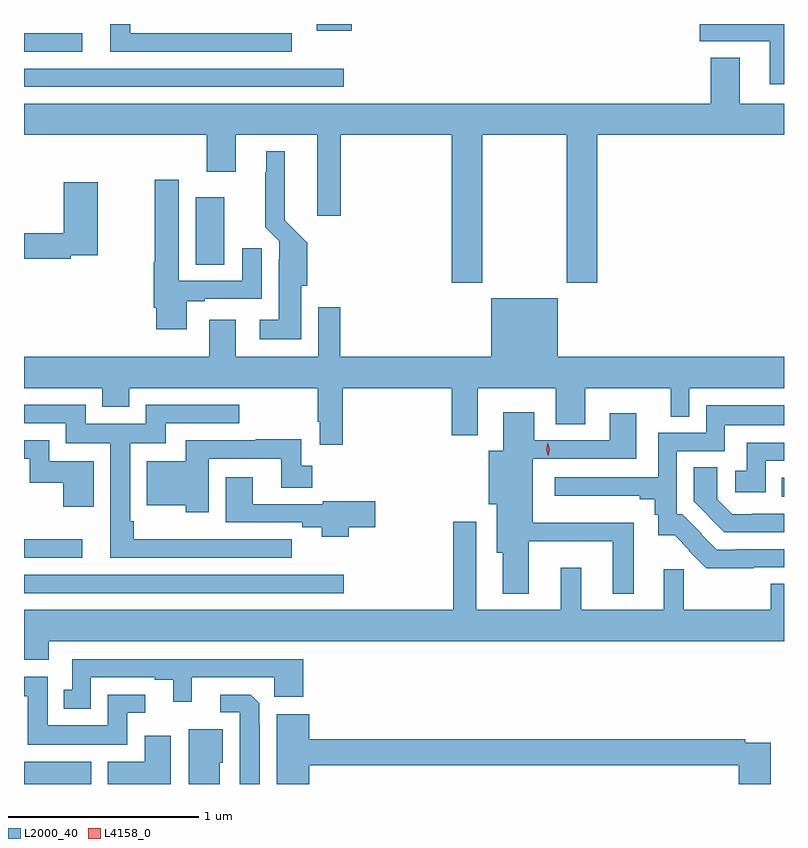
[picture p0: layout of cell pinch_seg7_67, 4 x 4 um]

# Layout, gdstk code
import gdstk
lib = gdstk.Library(unit=1e-6, precision=1e-09)
def R(c, l, rs):  # rectangles x0, y0, x1, y1
    for r in rs: c.add(gdstk.rectangle(r[:2], r[2:], *l))
def P(c, l, *ps):  # polygons
    for p in ps: c.add(gdstk.Polygon(p, *l))
L2000_40 = (2000, 40)
L4158_0 = (4158, 0)

pinch_seg7_67 = lib.new_cell('pinch_seg7_67')
R(pinch_seg7_67, L2000_40, [(997.623,1057.14,997.978,1057.258), (997.623,1058.145,999.307,1058.241), (1001.612,1058.651,1001.623,1058.752), (998.528,1059.874,998.677,1060.228), (997.623,1060.809,999.307,1060.905), (999.164,1061.105,999.347,1061.14)])
P(pinch_seg7_67, L2000_40, [(1001.623,1061.14),(1001.18,1061.14),(1001.18,1061.048),(1001.549,1061.048),(1001.549,1060.824),(1001.623,1060.824)],
  [(999.031,1061.091),(998.182,1061.091),(998.182,1061.14),(998.078,1061.14),(998.078,1060.995),(999.031,1060.995)],
  [(997.93,1061.092),(997.66,1061.092),(997.66,1061.091),(997.623,1061.091),(997.623,1060.995),(997.93,1060.995)],
  [(1000.035,1060.556),(1000.48,1060.556),(1000.48,1059.777),(1000.64,1059.777),(1000.64,1060.556),(1001.623,1060.556),(1001.623,1060.72),(1001.389,1060.72),(1001.389,1060.963),(1001.237,1060.963),(1001.237,1060.72),(997.623,1060.72),(997.623,1060.556),(998.585,1060.556),(998.585,1060.362),(998.737,1060.362),(998.737,1060.556),(999.167,1060.556),(999.167,1060.131),(999.29,1060.131),(999.29,1060.556),(999.875,1060.556),(999.875,1059.777),(1000.035,1059.777)],
  [(999.082,1059.762),(999.113,1059.762),(999.113,1059.99),(998.995,1060.108),(998.995,1060.471),(998.897,1060.471),(998.897,1060.361),(998.893,1060.361),(998.893,1060.07),(998.967,1059.996),(998.967,1059.902),(998.963,1059.902),(998.963,1059.583),(998.865,1059.583),(998.865,1059.482),(999.082,1059.482)],
  [(998.479,1059.681),(998.575,1059.681),(998.575,1059.693),(998.875,1059.693),(998.875,1059.961),(998.771,1059.961),(998.771,1059.789),(998.437,1059.789),(998.437,1060.321),(998.311,1060.321),(998.311,1059.886),(998.306,1059.886),(998.306,1059.646),(998.318,1059.646),(998.318,1059.534),(998.479,1059.534)],
  [(997.868,1059.924),(998.01,1059.924),(998.01,1060.306),(997.832,1060.306),(997.832,1060.04),(997.623,1060.04),(997.623,1059.904),(997.868,1059.904)],
  [(999.301,1059.224),(999.875,1059.224),(999.875,1058.976),(1000.012,1058.976),(1000.012,1059.224),(1000.421,1059.224),(1000.421,1059.034),(1000.576,1059.034),(1000.576,1059.224),(1001.027,1059.224),(1001.027,1059.073),(1001.124,1059.073),(1001.124,1059.224),(1001.623,1059.224),(1001.623,1059.388),(1000.432,1059.388),(1000.432,1059.697),(1000.082,1059.697),(1000.082,1059.388),(999.287,1059.388),(999.287,1059.649),(999.171,1059.649),(999.171,1059.388),(998.737,1059.388),(998.737,1059.583),(998.597,1059.583),(998.597,1059.388),(997.623,1059.388),(997.623,1059.224),(998.036,1059.224),(998.036,1059.125),(998.176,1059.125),(998.176,1059.224),(999.169,1059.224),(999.169,1059.046),(999.179,1059.046),(999.179,1058.925),(999.301,1058.925)],
  [(999.031,1058.427),(998.588,1058.427),(998.588,1058.428),(998.2,1058.428),(998.2,1058.524),(998.182,1058.524),(998.182,1058.933),(998.368,1058.933),(998.368,1059.039),(998.755,1059.039),(998.755,1059.135),(998.264,1059.135),(998.264,1059.037),(997.948,1059.037),(997.948,1059.135),(997.623,1059.135),(997.623,1059.039),(997.844,1059.039),(997.844,1058.933),(998.078,1058.933),(998.078,1058.331),(999.031,1058.331)],
  [(1001.465,1058.28),(1001.623,1058.28),(1001.623,1058.376),(1001.368,1058.376),(1001.368,1058.373),(1001.268,1058.373),(1001.187,1058.454),(1001.19,1058.457),(1001.088,1058.559),(1001.058,1058.559),(1001.058,1058.892),(1001.31,1058.892),(1001.31,1059.029),(1001.623,1059.029),(1001.623,1059.133),(1001.214,1059.133),(1001.214,1058.988),(1000.962,1058.988),(1000.962,1058.754),(1000.416,1058.754),(1000.416,1058.657),(1000.865,1058.657),(1000.865,1058.638),(1000.942,1058.638),(1000.942,1058.556),(1000.961,1058.556),(1000.961,1058.448),(1001.047,1058.448),(1001.124,1058.37),(1001.121,1058.368),(1001.213,1058.275),(1001.465,1058.275)],
  [(1000.279,1058.417),(1000.721,1058.417),(1000.721,1058.142),(1000.831,1058.142),(1000.831,1058.515),(1000.3,1058.515),(1000.3,1058.853),(1000.846,1058.853),(1000.846,1059.091),(1000.706,1059.091),(1000.706,1058.949),(1000.309,1058.949),(1000.309,1059.097),(1000.145,1059.097),(1000.145,1058.893),(1000.07,1058.893),(1000.07,1058.612),(1000.112,1058.612),(1000.112,1058.357),(1000.142,1058.357),(1000.142,1058.142),(1000.279,1058.142)],
  [(998.596,1058.853),(998.978,1058.853),(998.978,1058.698),(999.139,1058.698),(999.139,1058.814),(999.082,1058.814),(999.082,1058.954),(998.842,1058.954),(998.842,1058.949),(998.474,1058.949),(998.474,1058.839),(998.27,1058.839),(998.27,1058.606),(998.474,1058.606),(998.474,1058.57),(998.596,1058.57)],
  [(997.99,1058.839),(997.756,1058.839),(997.756,1058.949),(997.623,1058.949),(997.623,1058.853),(997.652,1058.853),(997.652,1058.725),(997.829,1058.725),(997.829,1058.598),(997.99,1058.598)],
  [(1001.527,1058.841),(1001.623,1058.841),(1001.623,1058.937),(1001.426,1058.937),(1001.426,1058.788),(1001.367,1058.788),(1001.367,1058.676),(1001.527,1058.676)],
  [(1001.623,1058.562),(1001.452,1058.562),(1001.452,1058.56),(1001.351,1058.56),(1001.271,1058.64),(1001.271,1058.807),(1001.147,1058.807),(1001.147,1058.629),(1001.229,1058.547),(1001.228,1058.546),(1001.309,1058.466),(1001.623,1058.466)],
  [(999.332,1058.492),(999.472,1058.492),(999.472,1058.627),(999.195,1058.627),(999.195,1058.613),(998.827,1058.613),(998.827,1058.755),(998.684,1058.755),(998.684,1058.517),(999.087,1058.517),(999.087,1058.492),(999.191,1058.492),(999.191,1058.441),(999.332,1058.441)],
  [(997.753,1057.892),(1001.623,1057.892),(1001.623,1058.195),(1001.554,1058.195),(1001.554,1058.056),(1001.096,1058.056),(1001.096,1058.271),(1000.991,1058.271),(1000.991,1058.056),(1000.555,1058.056),(1000.555,1058.278),(1000.448,1058.278),(1000.448,1058.056),(1000.003,1058.056),(1000.003,1058.521),(999.881,1058.521),(999.881,1058.056),(997.623,1058.056),(997.623,1057.793),(997.753,1057.793)],
  [(997.93,1058.428),(997.66,1058.428),(997.66,1058.427),(997.623,1058.427),(997.623,1058.331),(997.93,1058.331)],
  [(997.974,1057.701),(998.312,1057.701),(998.312,1057.689),(998.408,1057.689),(998.408,1057.572),(998.506,1057.572),(998.506,1057.701),(998.94,1057.701),(998.94,1057.598),(999.092,1057.598),(999.092,1057.797),(997.878,1057.797),(997.878,1057.635),(997.832,1057.635),(997.832,1057.535),(997.974,1057.535)],
  [(998.167,1057.515),(998.26,1057.515),(998.26,1057.611),(998.063,1057.611),(998.063,1057.45),(997.747,1057.45),(997.747,1057.705),(997.623,1057.705),(997.623,1057.601),(997.643,1057.601),(997.643,1057.346),(998.167,1057.346)],
  [(998.863,1057.454),(998.862,1057.454),(998.862,1057.565),(998.816,1057.611),(998.655,1057.611),(998.655,1057.518),(998.759,1057.518),(998.759,1057.14),(998.863,1057.14)],
  [(999.125,1057.24),(1001.384,1057.24),(1001.384,1057.14),(1001.554,1057.14),(1001.554,1057.356),(1001.42,1057.356),(1001.42,1057.376),(999.125,1057.376),(999.125,1057.507),(998.954,1057.507),(998.954,1057.14),(999.125,1057.14)],
  [(998.653,1057.251),(998.668,1057.251),(998.668,1057.429),(998.489,1057.429),(998.489,1057.14),(998.653,1057.14)],
  [(998.395,1057.393),(998.258,1057.393),(998.258,1057.258),(998.063,1057.258),(998.063,1057.14),(998.395,1057.14)])
P(pinch_seg7_67, L4158_0, [(1000.381,1058.865),(1000.371,1058.9),(1000.38,1058.936),(1000.38,1058.936),(1000.38,1058.936),(1000.391,1058.901),(1000.382,1058.865),(1000.382,1058.865)])

lib.write_gds('pinch_seg7_67.gds')
